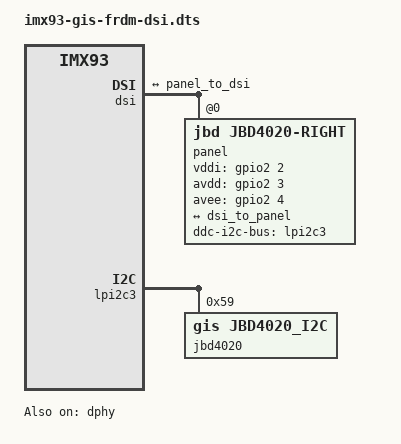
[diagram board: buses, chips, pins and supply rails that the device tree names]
// SPDX-License-Identifier: (GPL-2.0+ OR MIT)
/*
 * Copyright 2024 NXP
 */

#include "imx93-gis-frdm.dts"

&lvds_bridge {
	status = "disabled";
};

&ldb {
	status = "disabled";
};

&ldb_phy {
	status = "disabled";
};

&dphy {
	status = "okay";
};

&dsi {
    status = "okay";

    ports {
        port@1{
            reg = <1>;

            dsi_to_panel: endpoint {
                remote-endpoint = <&panel_to_dsi>;
            };
        };
    };

    panel@0{
        reg = <0>;
        //compatible = "ws,ws_800x480";
        compatible = "jbd,jbd4020-right";
        vddi-gpio = <&gpio2 2 GPIO_ACTIVE_HIGH>;
        avdd-gpio = <&gpio2 3 GPIO_ACTIVE_HIGH>;
        avee-gpio = <&gpio2 4 GPIO_ACTIVE_HIGH>;
        ddc-i2c-bus = <&lpi2c3>;

        pinctrl-names = "default";
        pinctrl-0 = <&pinctrl_jbdpmic>;

        ports {
            port@1{
                panel_to_dsi: endpoint {
                    remote-endpoint = <&dsi_to_panel>;
                };
            };
        };
    };
};

&lcdif {
	//assigned-clock-rates = <484000000>, <121000000>, <400000000>, <133333333>;
	assigned-clock-rates = <400000000>, <50000000>, <400000000>, <133333333>;
};

&lpi2c3 {
	jbd4020: panel_r@59 {
		compatible = "gis,jbd4020_i2c";
		reg = <0x59>;
		//interrupt-parent = <&pcal6524>;
		//interrupts = <1 IRQ_TYPE_EDGE_FALLING>;
		status = "okay";

        regmap {
            luminance@302ae38 {
                reg = <0x0302ae38>;
                bitmask = <0x00001fff>;
                label = "luminance";
            };
            current@302ae90 {
                reg = <0x0302ae90>;
                bitmask = <0x000000ff>;
                label = "current";
            };
            temperature@200300c {
                reg = <0x0200300c>;
                bitmask = <0x000003ff>;
                label = "temperature";
            };
            flip@3030004 {
                reg = <0x03030004>;
                bitmask = <0x00000002>;
                label = "flip";
            };
            mirror@3030004 {
                reg = <0x03030004>;
                bitmask = <0x00000001>;
                label = "mirror";
            };
            offset@3030008 {
                reg = <0x03030008>;
                bitmask = <0x0001f1f1>;
                label = "offset";
            };
        };
	};
    panel_g@5a {
		compatible = "gis,jbd4020_i2c_5a_dummy";
		reg = <0x5a>;
		status = "okay";
    };
    panel_g@5b {
		compatible = "gis,jbd4020_i2c_5b_dummy";
		reg = <0x5b>;
		status = "okay";
    };
};

&iomuxc {
    pinctrl_jbdpmic: jbdpmicgrp {
        fsl,pins = <
            MX93_PAD_GPIO_IO02__GPIO2_IO02 0x40000041
            MX93_PAD_GPIO_IO03__GPIO2_IO03 0x40000041
            MX93_PAD_GPIO_IO04__GPIO2_IO04 0x40000041
        >;
    };
};

